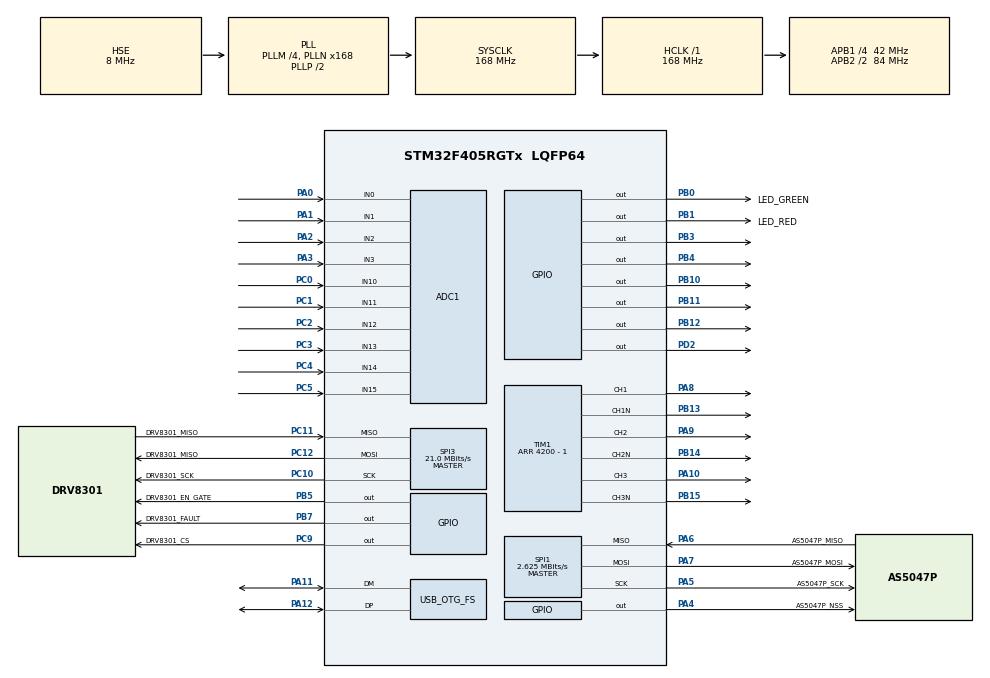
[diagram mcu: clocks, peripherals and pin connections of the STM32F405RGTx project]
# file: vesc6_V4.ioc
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ADC1.Channel-0\#ChannelRegularConversion=ADC_CHANNEL_13
ADC1.Channel-1\#ChannelRegularConversion=ADC_CHANNEL_0
ADC1.Channel-2\#ChannelRegularConversion=ADC_CHANNEL_1
ADC1.Channel-3\#ChannelRegularConversion=ADC_CHANNEL_2
ADC1.Channel-4\#ChannelRegularConversion=ADC_CHANNEL_3
ADC1.Channel-5\#ChannelRegularConversion=ADC_CHANNEL_14
ADC1.Channel-6\#ChannelRegularConversion=ADC_CHANNEL_15
ADC1.Channel-7\#ChannelInjectedConversion=ADC_CHANNEL_10
ADC1.Channel-8\#ChannelInjectedConversion=ADC_CHANNEL_11
ADC1.Channel-9\#ChannelInjectedConversion=ADC_CHANNEL_12
ADC1.ClockPrescaler=ADC_CLOCK_SYNC_PCLK_DIV4
ADC1.DMAContinuousRequests=DISABLE
ADC1.EOCSelection=ADC_EOC_SINGLE_CONV
ADC1.ExternalTrigConv=ADC_EXTERNALTRIGCONV_T1_CC1
ADC1.ExternalTrigInjecConv=ADC_EXTERNALTRIGINJECCONV_T1_CC4
ADC1.InjNumberOfConversion=3
ADC1.InjectedConvMode=None
ADC1.InjectedOffset-7\#ChannelInjectedConversion=0
ADC1.InjectedOffset-8\#ChannelInjectedConversion=0
ADC1.InjectedOffset-9\#ChannelInjectedConversion=0
ADC1.InjectedRank-7\#ChannelInjectedConversion=1
ADC1.InjectedRank-8\#ChannelInjectedConversion=2
ADC1.InjectedRank-9\#ChannelInjectedConversion=3
ADC1.NbrOfConversion=7
ADC1.NbrOfConversionFlag=1
ADC1.Rank-0\#ChannelRegularConversion=1
ADC1.Rank-1\#ChannelRegularConversion=2
ADC1.Rank-2\#ChannelRegularConversion=3
ADC1.Rank-3\#ChannelRegularConversion=4
ADC1.Rank-4\#ChannelRegularConversion=5
ADC1.Rank-5\#ChannelRegularConversion=6
ADC1.Rank-6\#ChannelRegularConversion=7
ADC1.SamplingTime-0\#ChannelRegularConversion=ADC_SAMPLETIME_3CYCLES
ADC1.SamplingTime-1\#ChannelRegularConversion=ADC_SAMPLETIME_3CYCLES
ADC1.SamplingTime-2\#ChannelRegularConversion=ADC_SAMPLETIME_3CYCLES
ADC1.SamplingTime-3\#ChannelRegularConversion=ADC_SAMPLETIME_3CYCLES
ADC1.SamplingTime-4\#ChannelRegularConversion=ADC_SAMPLETIME_3CYCLES
ADC1.SamplingTime-5\#ChannelRegularConversion=ADC_SAMPLETIME_3CYCLES
ADC1.SamplingTime-6\#ChannelRegularConversion=ADC_SAMPLETIME_3CYCLES
ADC1.SamplingTime-7\#ChannelInjectedConversion=ADC_SAMPLETIME_3CYCLES
ADC1.SamplingTime-8\#ChannelInjectedConversion=ADC_SAMPLETIME_3CYCLES
ADC1.SamplingTime-9\#ChannelInjectedConversion=ADC_SAMPLETIME_3CYCLES
ADC1.ScanConvMode=ENABLE
ADC1.master=1
Dma.ADC1.0.Direction=DMA_PERIPH_TO_MEMORY
Dma.ADC1.0.FIFOMode=DMA_FIFOMODE_DISABLE
Dma.ADC1.0.Instance=DMA2_Stream0
Dma.ADC1.0.MemDataAlignment=DMA_MDATAALIGN_HALFWORD
Dma.ADC1.0.MemInc=DMA_MINC_ENABLE
Dma.ADC1.0.Mode=DMA_NORMAL
Dma.ADC1.0.PeriphDataAlignment=DMA_PDATAALIGN_HALFWORD
Dma.ADC1.0.PeriphInc=DMA_PINC_DISABLE
Dma.ADC1.0.Priority=DMA_PRIORITY_MEDIUM
Dma.Request0=ADC1
Dma.Request1=SPI1_RX
Dma.Request2=SPI1_TX
Dma.SPI1_RX.1.Direction=DMA_PERIPH_TO_MEMORY
Dma.SPI1_RX.1.FIFOMode=DMA_FIFOMODE_DISABLE
Dma.SPI1_RX.1.Instance=DMA2_Stream2
Dma.SPI1_RX.1.MemDataAlignment=DMA_MDATAALIGN_HALFWORD
Dma.SPI1_RX.1.MemInc=DMA_MINC_ENABLE
Dma.SPI1_RX.1.Mode=DMA_NORMAL
Dma.SPI1_RX.1.PeriphDataAlignment=DMA_PDATAALIGN_HALFWORD
Dma.SPI1_RX.1.PeriphInc=DMA_PINC_DISABLE
Dma.SPI1_RX.1.Priority=DMA_PRIORITY_HIGH
Dma.SPI1_TX.2.Direction=DMA_MEMORY_TO_PERIPH
Dma.SPI1_TX.2.FIFOMode=DMA_FIFOMODE_DISABLE
Dma.SPI1_TX.2.Instance=DMA2_Stream3
Dma.SPI1_TX.2.MemDataAlignment=DMA_MDATAALIGN_HALFWORD
Dma.SPI1_TX.2.MemInc=DMA_MINC_ENABLE
Dma.SPI1_TX.2.Mode=DMA_NORMAL
Dma.SPI1_TX.2.PeriphDataAlignment=DMA_PDATAALIGN_HALFWORD
Dma.SPI1_TX.2.PeriphInc=DMA_PINC_DISABLE
Dma.SPI1_TX.2.Priority=DMA_PRIORITY_HIGH
Mcu.Family=STM32F4
Mcu.Name=STM32F405RGTx
Mcu.Package=LQFP64
NVIC.ADC_IRQn=true\:0\:0\:false\:false\:true\:true\:true\:true
NVIC.DMA2_Stream0_IRQn=true\:0\:0\:false\:false\:true\:false\:true\:true
NVIC.DMA2_Stream2_IRQn=true\:0\:0\:false\:false\:true\:false\:true\:true
NVIC.DMA2_Stream3_IRQn=true\:0\:0\:false\:false\:true\:false\:true\:true
NVIC.OTG_FS_IRQn=true\:14\:0\:true\:false\:true\:false\:true\:true
NVIC.PriorityGroup=NVIC_PRIORITYGROUP_4
NVIC.SPI1_IRQn=true\:0\:0\:false\:false\:true\:true\:true\:true
NVIC.TIM1_UP_TIM10_IRQn=true\:0\:0\:false\:false\:true\:true\:true\:true
PA0-WKUP.Signal=ADCx_IN0
PA1.Signal=ADCx_IN1
PA10.GPIO_Speed=GPIO_SPEED_FREQ_VERY_HIGH
PA10.Signal=S_TIM1_CH3
PA11.Mode=Device_Only
PA11.Signal=USB_OTG_FS_DM
PA12.Mode=Device_Only
PA12.Signal=USB_OTG_FS_DP
PA13.Mode=Serial_Wire
PA13.Signal=SYS_JTMS-SWDIO
PA14.Mode=Serial_Wire
PA14.Signal=SYS_JTCK-SWCLK
PA2.Signal=ADCx_IN2
PA3.Signal=ADCx_IN3
PA4.GPIO_Label=AS5047P_NSS
PA4.Signal=GPIO_Output
PA5.GPIO_Label=AS5047P_SCK
PA5.Mode=Full_Duplex_Master
PA5.Signal=SPI1_SCK
PA6.GPIO_Label=AS5047P_MISO
PA6.Mode=Full_Duplex_Master
PA6.Signal=SPI1_MISO
PA7.GPIO_Label=AS5047P_MOSI
PA7.Mode=Full_Duplex_Master
PA7.Signal=SPI1_MOSI
PA8.GPIO_Speed=GPIO_SPEED_FREQ_VERY_HIGH
PA8.Signal=S_TIM1_CH1
PA9.GPIO_Speed=GPIO_SPEED_FREQ_VERY_HIGH
PA9.Signal=S_TIM1_CH2
PB0.GPIO_Label=LED_GREEN
PB0.Signal=GPIO_Output
PB1.GPIO_Label=LED_RED
PB1.Signal=GPIO_Output
PB10.Signal=GPIO_Output
PB11.Signal=GPIO_Output
PB12.Signal=GPIO_Output
PB13.GPIO_Speed=GPIO_SPEED_FREQ_VERY_HIGH
PB13.Mode=PWM Generation1 CH1 CH1N
PB13.Signal=TIM1_CH1N
PB14.GPIO_Speed=GPIO_SPEED_FREQ_VERY_HIGH
PB14.Mode=PWM Generation2 CH2 CH2N
PB14.Signal=TIM1_CH2N
PB15.GPIO_Speed=GPIO_SPEED_FREQ_VERY_HIGH
PB15.Mode=PWM Generation3 CH3 CH3N
PB15.Signal=TIM1_CH3N
PB3.Signal=GPIO_Output
PB4.Signal=GPIO_Output
PB5.GPIO_Label=DRV8301_EN_GATE
PB5.Signal=GPIO_Output
PB7.GPIO_Label=DRV8301_FAULT
PB7.Signal=GPIO_Output
PC0.Signal=ADCx_IN10
PC1.Signal=ADCx_IN11
PC10.GPIO_Label=DRV8301_SCK
PC10.Mode=Full_Duplex_Master
PC10.Signal=SPI3_SCK
PC11.GPIO_Label=DRV8301_MISO
PC11.Mode=Full_Duplex_Master
PC11.Signal=SPI3_MISO
PC12.GPIO_Label=DRV8301_MISO
PC12.Mode=Full_Duplex_Master
PC12.Signal=SPI3_MOSI
PC2.Signal=ADCx_IN12
PC3.Signal=ADCx_IN13
PC4.Signal=ADCx_IN14
PC5.Signal=ADCx_IN15
PC9.GPIO_Label=DRV8301_CS
PC9.Signal=GPIO_Output
PD2.Signal=GPIO_Output
PH0-OSC_IN.Mode=HSE-External-Oscillator
PH0-OSC_IN.Signal=RCC_OSC_IN
PH1-OSC_OUT.Mode=HSE-External-Oscillator
PH1-OSC_OUT.Signal=RCC_OSC_OUT
ProjectManager.HeapSize=0x200
ProjectManager.StackSize=0x400
ProjectManager.TargetToolchain=MDK-ARM V5.32
RCC.48MHZClocksFreq_Value=48000000
RCC.AHBFreq_Value=168000000
RCC.APB1CLKDivider=RCC_HCLK_DIV4
RCC.APB1Freq_Value=42000000
RCC.APB1TimFreq_Value=84000000
RCC.APB2CLKDivider=RCC_HCLK_DIV2
RCC.APB2Freq_Value=84000000
RCC.APB2TimFreq_Value=168000000
RCC.CortexFreq_Value=168000000
RCC.HCLKFreq_Value=168000000
RCC.HSE_VALUE=8000000
RCC.HSI_VALUE=16000000
RCC.LSE_VALUE=32768
RCC.PLLM=4
RCC.PLLN=168
RCC.PLLQ=7
RCC.SYSCLKFreq_VALUE=168000000
RCC.SYSCLKSource=RCC_SYSCLKSOURCE_PLLCLK
RCC.VCOOutputFreq_Value=336000000
SH.ADCx_IN0.0=ADC1_IN0,IN0
SH.ADCx_IN1.0=ADC1_IN1,IN1
SH.ADCx_IN10.0=ADC1_IN10,IN10
SH.ADCx_IN11.0=ADC1_IN11,IN11
SH.ADCx_IN12.0=ADC1_IN12,IN12
SH.ADCx_IN13.0=ADC1_IN13,IN13
SH.ADCx_IN14.0=ADC1_IN14,IN14
SH.ADCx_IN15.0=ADC1_IN15,IN15
SH.ADCx_IN2.0=ADC1_IN2,IN2
SH.ADCx_IN3.0=ADC1_IN3,IN3
SH.S_TIM1_CH1.0=TIM1_CH1,PWM Generation1 CH1 CH1N
SH.S_TIM1_CH2.0=TIM1_CH2,PWM Generation2 CH2 CH2N
SH.S_TIM1_CH3.0=TIM1_CH3,PWM Generation3 CH3 CH3N
SPI1.BaudRatePrescaler=SPI_BAUDRATEPRESCALER_32
SPI1.CLKPhase=SPI_PHASE_2EDGE
SPI1.CRCCalculation=SPI_CRCCALCULATION_DISABLE
SPI1.CalculateBaudRate=2.625 MBits/s
SPI1.DataSize=SPI_DATASIZE_16BIT
SPI1.Direction=SPI_DIRECTION_2LINES
SPI1.Mode=SPI_MODE_MASTER
SPI1.VirtualType=VM_MASTER
SPI3.CalculateBaudRate=21.0 MBits/s
SPI3.Direction=SPI_DIRECTION_2LINES
SPI3.Mode=SPI_MODE_MASTER
SPI3.VirtualType=VM_MASTER
STMicroelectronics.X-CUBE-ALGOBUILD.1.4.0.LibraryCcDSPOoLibraryJjDSPOoLibrary=true
TIM1.AutoReloadPreload=TIM_AUTORELOAD_PRELOAD_ENABLE
TIM1.AutomaticOutput=TIM_AUTOMATICOUTPUT_DISABLE
TIM1.BreakState=TIM_BREAK_ENABLE
TIM1.Channel-Output\ Compare3\ CH3\ CH3N=TIM_CHANNEL_3
TIM1.Channel-PWM\ Generation1\ CH1\ CH1N=TIM_CHANNEL_1
TIM1.Channel-PWM\ Generation2\ CH2\ CH2N=TIM_CHANNEL_2
TIM1.Channel-PWM\ Generation3\ CH3\ CH3N=TIM_CHANNEL_3
TIM1.Channel-PWM\ Generation4\ No\ Output=TIM_CHANNEL_4
TIM1.CounterMode=TIM_COUNTERMODE_CENTERALIGNED1
TIM1.DeadTime=200
TIM1.OCMode_PWM-PWM\ Generation1\ CH1\ CH1N=TIM_OCMODE_PWM1
TIM1.OCMode_PWM-PWM\ Generation4\ No\ Output=TIM_OCMODE_PWM1
TIM1.OffStateIDLEMode=TIM_OSSI_ENABLE
TIM1.OffStateRunMode=TIM_OSSR_DISABLE
TIM1.Period=4200 - 1
TIM1.Pulse-Output\ Compare3\ CH3\ CH3N=2100 - 1
TIM1.Pulse-PWM\ Generation1\ CH1\ CH1N=2100 - 1
TIM1.Pulse-PWM\ Generation2\ CH2\ CH2N=2100 - 1
TIM1.Pulse-PWM\ Generation3\ CH3\ CH3N=2100 - 1
TIM1.Pulse-PWM\ Generation4\ No\ Output=4000
TIM1.TIM_MasterOutputTrigger=TIM_TRGO_OC4REF
TIM10.AutoReloadPreload=TIM_AUTORELOAD_PRELOAD_ENABLE
TIM10.Period=1000
TIM10.Prescaler=168 - 1
USB_DEVICE.CLASS_NAME_FS=CDC
USB_DEVICE.VirtualMode-CDC_FS=Cdc
USB_DEVICE.VirtualModeFS=Cdc_FS
USB_OTG_FS.VirtualMode=Device_Only
VP_STMicroelectronics.X-CUBE-ALGOBUILD_VS_DSPOoLibraryJjLibrary_1.4.0_1.4.0.Mode=DSPOoLibraryJjLibrary
VP_TIM10_VS_ClockSourceINT.Mode=Enable_Timer
VP_TIM1_VS_ClockSourceINT.Mode=Internal
VP_TIM1_VS_no_output4.Mode=PWM Generation4 No Output
VP_USB_DEVICE_VS_USB_DEVICE_CDC_FS.Mode=CDC_FS
board=custom

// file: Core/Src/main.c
/* USER CODE BEGIN Header */
/**
  ******************************************************************************
  * @file           : main.c
  * @brief          : Main program body
  ******************************************************************************
  * @attention
  *
  * Copyright (c) 2025 STMicroelectronics.
  * All rights reserved.
  *
  * This software is licensed under terms that can be found in the LICENSE file
  * in the root directory of this software component.
  * If no LICENSE file comes with this software, it is provided AS-IS.
  *
  ******************************************************************************
  */
/* USER CODE END Header */
#include "main.h"
#include "adc.h"
#include "dma.h"
#include "spi.h"
#include "tim.h"
#include "usb_device.h"
#include "gpio.h"

/* USER CODE BEGIN Includes */
#include "foc_core.h"
#include "vofa.h"
#include "usb_vcp.h"
/* USER CODE END Includes */

void SystemClock_Config(void);

/* USER CODE BEGIN 0 */

/**
 * @brief  SPI DMA 传输完成回调 (编码器读取)
 */
void HAL_SPI_TxRxCpltCallback(SPI_HandleTypeDef *hspi)
{
    if (hspi->Instance == SPI1) {
        FOC_EncoderCallback(&g_Motor);
    }
}

/* USER CODE END 0 */

int main(void)
{

  /* MCU Configuration--------------------------------------------------------*/

  /* Reset of all peripherals, Initializes the Flash interface and the Systick. */
  HAL_Init();

  /* Configure the system clock */
  SystemClock_Config();

  /* Initialize all configured peripherals */
  MX_GPIO_Init();
  MX_DMA_Init();
  MX_ADC1_Init();
  MX_TIM1_Init();
  MX_SPI3_Init();
  MX_USB_DEVICE_Init();
  MX_TIM10_Init();
  MX_SPI1_Init();
  /* USER CODE BEGIN 2 */

    /*--- 初始化 FOC 控制器 ---*/
    FOC_Init(&g_Motor);

    /*--- 启动 PWM ---*/
    __HAL_TIM_ENABLE(&htim1);
    HAL_TIM_PWM_Start(&htim1, TIM_CHANNEL_1);
    HAL_TIM_PWM_Start(&htim1, TIM_CHANNEL_2);
    HAL_TIM_PWM_Start(&htim1, TIM_CHANNEL_3);
    HAL_TIM_PWM_Start(&htim1, TIM_CHANNEL_4);

    HAL_TIMEx_PWMN_Start(&htim1, TIM_CHANNEL_1);
    HAL_TIMEx_PWMN_Start(&htim1, TIM_CHANNEL_2);
    HAL_TIMEx_PWMN_Start(&htim1, TIM_CHANNEL_3);

    /*--- 启动 ADC 注入转换 (触发 FOC 控制循环) ---*/
    __HAL_TIM_ENABLE_IT(&htim1, TIM_IT_UPDATE);
    HAL_ADCEx_InjectedStart_IT(&hadc1);

    /*--- 等待上电稳定 ---*/
    HAL_Delay(2000);

    /*--- 使能电机驱动 ---*/
    FOC_Start(&g_Motor);

    /*--- 设置控制模式和目标 ---*/
    FOC_SetMode(&g_Motor, FOC_MODE_POSITION);
    FOC_SetTargetPosition(&g_Motor, 3.14f);     // 目标位置: π rad

  /* USER CODE END 2 */

  /* Infinite loop */
  /* USER CODE BEGIN WHILE */
  while (1)
  {
        /*--- 发送 VOFA 调试数据 ---*/
        VOFA_Send_JustFloat(vofa_data, 23);

        /*--- 可在此处添加用户控制逻辑 ---*/
        // 例如: 根据USB接收的命令修改目标值
        // FOC_SetTargetSpeed(&g_Motor, new_speed);
        // FOC_SetTargetPosition(&g_Motor, new_position);

    /* USER CODE END WHILE */

  }
}

void SystemClock_Config(void)
{
  RCC_OscInitTypeDef RCC_OscInitStruct = {0};
  RCC_ClkInitTypeDef RCC_ClkInitStruct = {0};

  /** Configure the main internal regulator output voltage
  */
  __HAL_RCC_PWR_CLK_ENABLE();
  __HAL_PWR_VOLTAGESCALING_CONFIG(PWR_REGULATOR_VOLTAGE_SCALE1);

  /** Initializes the RCC Oscillators according to the specified parameters
  * in the RCC_OscInitTypeDef structure.
  */
  RCC_OscInitStruct.OscillatorType = RCC_OSCILLATORTYPE_HSE;
  RCC_OscInitStruct.HSEState = RCC_HSE_ON;
  RCC_OscInitStruct.PLL.PLLState = RCC_PLL_ON;
  RCC_OscInitStruct.PLL.PLLSource = RCC_PLLSOURCE_HSE;
  RCC_OscInitStruct.PLL.PLLM = 4;
  RCC_OscInitStruct.PLL.PLLN = 168;
  RCC_OscInitStruct.PLL.PLLP = RCC_PLLP_DIV2;
  RCC_OscInitStruct.PLL.PLLQ = 7;
  if (HAL_RCC_OscConfig(&RCC_OscInitStruct) != HAL_OK)
  {
    Error_Handler();
  }

  /** Initializes the CPU, AHB and APB buses clocks
  */
  RCC_ClkInitStruct.ClockType = RCC_CLOCKTYPE_HCLK|RCC_CLOCKTYPE_SYSCLK
                              |RCC_CLOCKTYPE_PCLK1|RCC_CLOCKTYPE_PCLK2;
  RCC_ClkInitStruct.SYSCLKSource = RCC_SYSCLKSOURCE_PLLCLK;
  RCC_ClkInitStruct.AHBCLKDivider = RCC_SYSCLK_DIV1;
  RCC_ClkInitStruct.APB1CLKDivider = RCC_HCLK_DIV4;
  RCC_ClkInitStruct.APB2CLKDivider = RCC_HCLK_DIV2;

  if (HAL_RCC_ClockConfig(&RCC_ClkInitStruct, FLASH_LATENCY_5) != HAL_OK)
  {
    Error_Handler();
  }
}

void Error_Handler(void)
{
  /* USER CODE BEGIN Error_Handler_Debug */
  /* User can add his own implementation to report the HAL error return state */
    FOC_EmergencyStop(&g_Motor);
  __disable_irq();
  while (1)
  {
  }
  /* USER CODE END Error_Handler_Debug */
}
